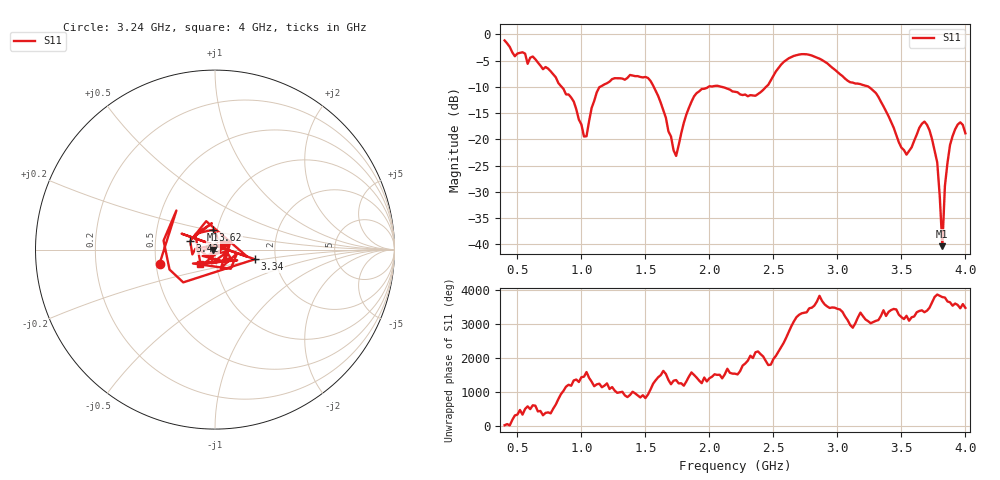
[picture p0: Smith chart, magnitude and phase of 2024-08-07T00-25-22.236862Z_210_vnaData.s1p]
!Created with skrf (http://scikit-rf.org).
# Hz S RI R 50.0
!freq ReS11 ImS11
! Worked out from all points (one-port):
!   181 points, 400 MHz to 4 GHz, reference 50 ohm
!   lowest |S11| = -40.3 dB at 3.82 GHz (marker M1), VSWR 1.02, Z = 49 + j0.000305 ohm
!   |S11| at or under -10 dB: 1.565 GHz to 1.993 GHz (427.5 MHz wide, 24 % of centre); 2.096 GHz to 2.443 GHz (347.2 MHz wide, 15.3 % of centre); 3.244 GHz to end of sweep (the widest 3 of 4)
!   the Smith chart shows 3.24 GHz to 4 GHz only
!   S11 on the Smith chart (normalised r, x): 3.24 GHz: 0.52, -0.09; 3.34 GHz: 1.56, -0.18; 3.42 GHz: 0.75, +0.07; 3.62 GHz: 0.96, +0.21; 4 GHz: 0.84, -0.13
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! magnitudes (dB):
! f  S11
! 400 MHz  -1.2
! 860 MHz  -10.4
! 1.04 GHz  -19.4
! 1.14 GHz  -10.1
! 1.3 GHz  -8.4
! 1.52 GHz  -8.3
! 1.62 GHz  -13.0
! 1.74 GHz  -23.2
! 1.76 GHz  -21.1
! 1.9 GHz  -11.2
! 2.2 GHz  -10.9
! 2.36 GHz  -11.7
! 2.66 GHz  -4.1
! 2.86 GHz  -4.6
! 3.1 GHz  -9.1
! 3.24 GHz  -9.9
! 3.34 GHz  -12.8
! 3.42 GHz  -16.7
! 3.56 GHz  -22.2
! 3.62 GHz  -19.1
! 3.68 GHz  -16.6
! 3.74 GHz  -20.0
! 3.78 GHz  -24.4
! 3.82 GHz  -40.3
! 3.84 GHz  -28.9
! 3.88 GHz  -21.1
! 3.96 GHz  -16.8
! 4 GHz  -18.8
